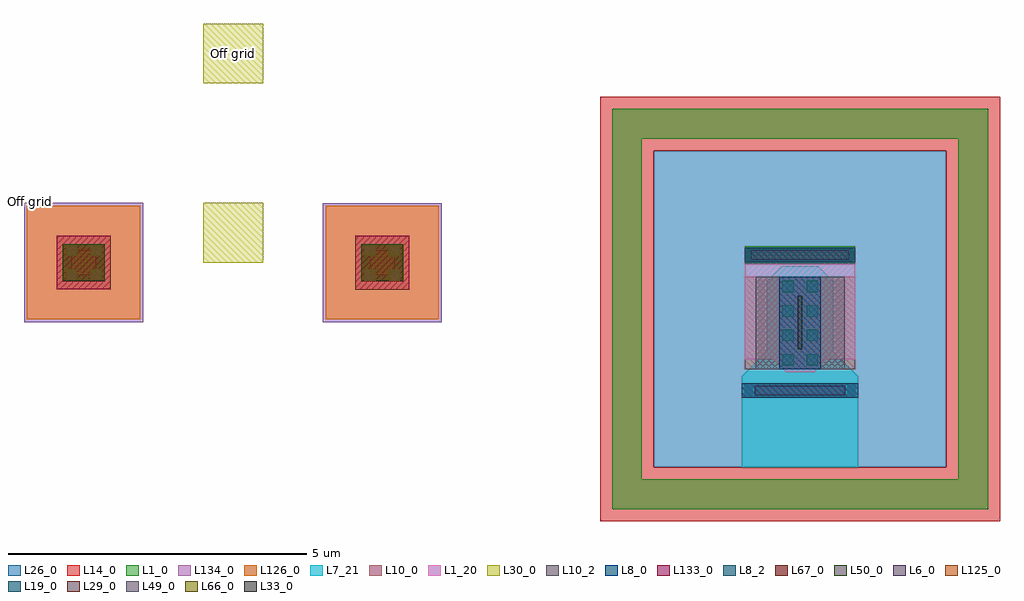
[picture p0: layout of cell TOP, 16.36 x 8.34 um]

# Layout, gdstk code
import gdstk
lib = gdstk.Library(unit=1e-6, precision=1e-09)
def R(c, l, rs):  # rectangles x0, y0, x1, y1
    for r in rs: c.add(gdstk.rectangle(r[:2], r[2:], *l))
def A(c, l, x, y, w, h, nx, ny, dx, dy):  # array of equal rectangles
    R(c, l, [(x+i*dx, y+j*dy, x+i*dx+w, y+j*dy+h) for i in range(nx) for j in range(ny)])
def P(c, l, *ps):  # polygons
    for p in ps: c.add(gdstk.Polygon(p, *l))
L1_0 = (1, 0)
L1_20 = (1, 20)
L6_0 = (6, 0)
L7_21 = (7, 21)
L8_0 = (8, 0)
L8_2 = (8, 2)
L10_0 = (10, 0)
L10_2 = (10, 2)
L14_0 = (14, 0)
L19_0 = (19, 0)
L26_0 = (26, 0)
L29_0 = (29, 0)
L30_0 = (30, 0)
L33_0 = (33, 0)
L49_0 = (49, 0)
L50_0 = (50, 0)
L66_0 = (66, 0)
L67_0 = (67, 0)
L125_0 = (125, 0)
L126_0 = (126, 0)
L133_0 = (133, 0)
L134_0 = (134, 0)

npn13g2 = lib.new_cell('npn13G2')
R(npn13g2, L1_0, [(-0.925,0.98,0.925,1.28)])
P(npn13g2, L1_0, [(-3.15,-3.13),(-3.15,3.58),(2.65,3.58),(2.65,3.08),(-2.65,3.08),(-2.65,-2.63),(2.65,-2.63),(2.65,3.58),(3.15,3.58),(3.15,-3.13)])
P(npn13g2, L1_20, [(-0.235,-0.83),(-0.445,-0.62),(-0.925,-0.62),(-0.925,0.98),(0.925,0.98),(0.925,-0.62),(0.445,-0.62),(0.235,-0.83)])
R(npn13g2, L6_0, [(-0.76,-1.22,0.76,-1.06), (-0.825,1.05,0.825,1.21)])
P(npn13g2, L7_21, [(-0.975,-2.43),(-0.975,-0.9),(-0.555,-0.48),(-0.555,0.69),(-0.305,0.94),(0.305,0.94),(0.555,0.69),(0.555,-0.48),(0.975,-0.9),(0.975,-2.43)])
R(npn13g2, L8_0, [(-0.975,-1.26,0.975,-1.02), (-0.35,-0.785,0.35,0.77), (-0.925,1.01,0.925,1.25)])
R(npn13g2, L8_2, [(-0.975,-1.26,0.975,-1.02), (-0.925,1.01,0.925,1.25)])
R(npn13g2, L10_0, [(-0.925,-0.785,0.925,0.77)])
R(npn13g2, L10_2, [(-0.745,-0.785,0.745,0.77)])
P(npn13g2, L14_0, [(-3.35,-3.33),(-3.35,3.78),(2.45,3.78),(2.45,2.88),(-2.45,2.88),(-2.45,-2.43),(2.45,-2.43),(2.45,3.78),(3.35,3.78),(3.35,-3.33)])
A(npn13g2, L19_0, -0.3, -0.72, 0.19, 0.19, 1, 4, 0, 0.41)
A(npn13g2, L19_0, 0.11, -0.72, 0.19, 0.19, 1, 4, 0, 0.41)
R(npn13g2, L26_0, [(-2.45,-2.43,2.45,2.88)])
R(npn13g2, L33_0, [(-0.035,-0.45,0.035,0.45)])
npn13g2.add(gdstk.Label('npn13G2', (0.015,2.31), layer=63, texttype=0))
npn13g2.add(gdstk.Label('C', (0,1.13), layer=63, texttype=0))
npn13g2.add(gdstk.Label('B', (0,-1.14), layer=63, texttype=0))
npn13g2.add(gdstk.Label('E', (0,-0.007), layer=63, texttype=0))
npn13g2.add(gdstk.Label('Ae=1*1*0.07*0.90', (-1.977,-2.546), layer=63, texttype=0))

via_stack_1 = lib.new_cell('via_stack$1')
R(via_stack_1, L10_0, [(-0.35,-0.305,0.35,0.305)])
R(via_stack_1, L29_0, [(-0.3,-0.3,-0.11,-0.11), (0.11,-0.3,0.3,-0.11), (-0.3,0.11,-0.11,0.3), (0.11,0.11,0.3,0.3)])
R(via_stack_1, L30_0, [(-0.35,-0.305,0.35,0.305)])
R(via_stack_1, L49_0, [(-0.3,-0.3,-0.11,-0.11), (0.11,-0.3,0.3,-0.11), (-0.3,0.11,-0.11,0.3), (0.11,0.11,0.3,0.3)])
R(via_stack_1, L50_0, [(-0.35,-0.305,0.35,0.305)])
R(via_stack_1, L66_0, [(-0.3,-0.3,-0.11,-0.11), (0.11,-0.3,0.3,-0.11), (-0.3,0.11,-0.11,0.3), (0.11,0.11,0.3,0.3)])
R(via_stack_1, L67_0, [(-0.35,-0.31,0.35,0.31)])
R(via_stack_1, L125_0, [(-0.21,-0.21,0.21,0.21)])
R(via_stack_1, L126_0, [(-0.95,-0.95,0.95,0.95)])
R(via_stack_1, L133_0, [(-0.45,-0.45,0.45,0.45)])
R(via_stack_1, L134_0, [(-1,-1,1,1)])

top = lib.new_cell('TOP')
R(top, L30_0, [(0,0,1.005,1.005), (0.003,3.003,1.003,4.003)])
top.add(gdstk.Reference(npn13g2, (10.002,-1.002)))
top.add(gdstk.Reference(via_stack_1, (3,0)))
top.add(gdstk.Reference(via_stack_1, (-2.003,0.003)))
top.add(gdstk.Label('1) align tap cell to midpoint of rect', (0.013,5.451), layer=63, texttype=0))
top.add(gdstk.Label('Off-Grid Test', (0.013,6.351), layer=63, texttype=0))
top.add(gdstk.Label('Off grid', (0.501,3.501), layer=30, texttype=25))
top.add(gdstk.Label('Off grid', (-2.896,1.022), layer=30, texttype=25))

lib.write_gds('TOP.gds')
